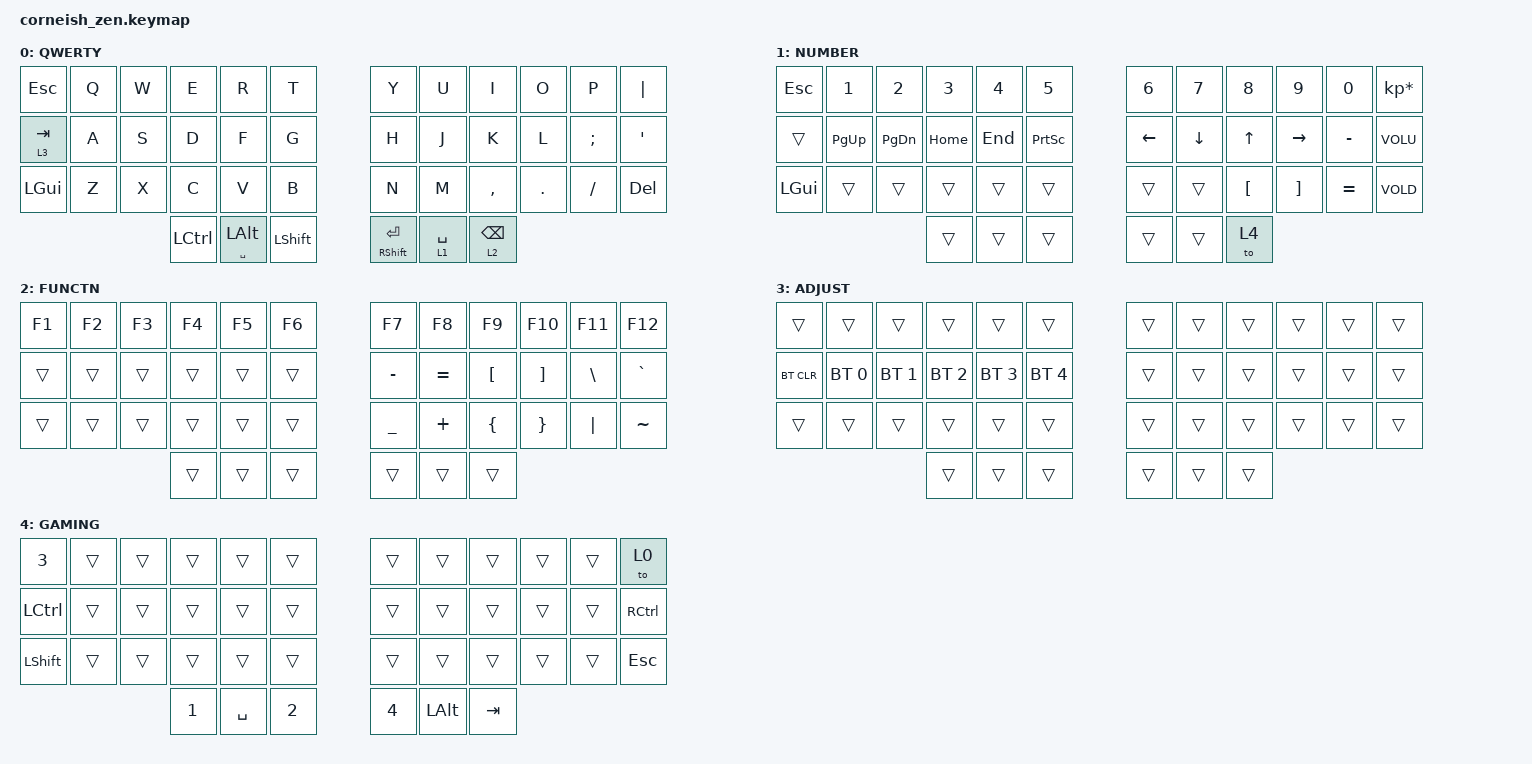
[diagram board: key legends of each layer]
#include <behaviors.dtsi>
#include <dt-bindings/zmk/keys.h>
#include <dt-bindings/zmk/bt.h>

/ {
  chosen {
    zmk,matrix_transform = &default_transform;
    //zmk,matrix_transform = &five_column_transform;
  };
};

&mt {
       tapping-term-ms = <125>;
};

/ {
        keymap {
                compatible = "zmk,keymap";

                default_layer {
                        label = "QWERTY";
// -----------------------------------------------------------------------------------------
// | ESC     |  Q  |  W  |  E  |  R  |  T  |   |  Y  |  U   |  I  |  O  |  P  | "|" |
// | TAB/AJT |  A  |  S  |  D  |  F  |  G  |   |  H  |  J   |  K  |  L  |  ;  |  '  |
// | GUI     |  Z  |  X  |  C  |  V  |  B  |   |  N  |  M   |  ,  |  .  |  /  | DEL |
//                   | CTL | SPC/ALT | SFT |   | ENT/SFT | SPC/LWR  | BSPC/RSE |
                        bindings = <
   &kp ESC   &kp Q &kp W &kp E &kp R &kp T   &kp Y &kp U  &kp I     &kp O   &kp P    &kp PIPE
   &lt 3 TAB &kp A &kp S &kp D &kp F &kp G   &kp H &kp J  &kp K     &kp L   &kp SEMI &kp SQT
   &kp LGUI  &kp Z &kp X &kp C &kp V &kp B   &kp N &kp M  &kp COMMA &kp DOT &kp FSLH &kp DEL
       &kp LCTRL &mt SPACE LALT &kp LSHIFT   &mt RSHIFT RET &lt 1 SPACE &lt 2 BSPC
                        >;
                };
                lower_layer {
                        label = "NUMBER";
// -----------------------------------------------------------------------------------------
// | ESC  |  1  |  2  |  3  |  4  |  5  |   |  6  |  7  |  8  |  9  |  0  | BKSP |
// | TAB  | PUP | PDN | HOM | END | PSN |   | LFT | DWN |  UP | RGT |     |      |
// | SHFT |     |     |     |     |     |   |     |     |     |     |     |      |
//                    | GUI |     | SPC |   | ENT |     | ALT |
                        bindings = <
   &kp ESC    &kp N1       &kp N2       &kp N3       &kp N4       &kp N5         &kp N6   &kp N7   &kp N8   &kp N9    &kp N0    &kp KP_MULTIPLY
   &trans     &kp PG_UP    &kp PG_DN    &kp HOME     &kp END      &kp PSCRN      &kp LEFT &kp DOWN &kp UP   &kp RIGHT &kp MINUS &kp VOLU
   &kp LGUI   &trans       &trans       &trans       &trans       &trans         &trans   &trans   &kp LBKT &kp RBKT  &kp EQUAL &kp VOLD
                          	            &trans       &trans       &trans         &trans   &trans   &to 4
                        >;
                };

                raise_layer {
                        label = "FUNCTN";
// -----------------------------------------------------------------------------------------
// |  TAB |  !  |  @  |  #  |  $  |  %  |   |  ^  |  &  |  *  |  (  |  )  | BKSP |
// | CTRL |     |     |     |     |     |   |  -  |  =  |  [  |  ]  |  \  |  `   |
// | SHFT |     |     |     |     |     |   |  _  |  +  |  {  |  }  | "|" |  ~   |
//                    | GUI |     | SPC |   | ENT |     | ALT |
                        bindings = <
   &kp F1  &kp F2   &kp F3  &kp F4   &kp F5   &kp F6      &kp F7    &kp F8    &kp F9    &kp F10  &kp F11  &kp F12
   &trans  &trans   &trans  &trans   &trans   &trans      &kp MINUS &kp EQUAL &kp LBKT  &kp RBKT &kp BSLH &kp GRAVE
   &trans  &trans   &trans  &trans   &trans   &trans      &kp UNDER &kp PLUS  &kp LBRC  &kp RBRC &kp PIPE &kp TILDE
                    	      &trans   &trans   &trans      &trans    &trans    &trans
                        >;
                };
               
                adjust_layer {
                        label = "ADJUST";
                        bindings = <
   &trans &trans &trans &trans &trans &trans   &trans &trans &trans &trans &trans &trans
   &bt BT_CLR &bt BT_SEL 0 &bt BT_SEL 1 &bt BT_SEL 2 &bt BT_SEL 3 &bt BT_SEL 4   &trans &trans &trans &trans &trans &trans
   &trans &trans &trans &trans &trans &trans   &trans &trans &trans &trans &trans &trans
            &trans       &trans       &trans         &trans   &trans   &trans
                        >;
                };

                game_layer {
                        label = "GAMING";
                        bindings = <
   &kp N3     &trans &trans &trans &trans    &trans        &trans &trans   &trans &trans &trans &to 0
   &kp LCTRL  &trans &trans &trans &trans    &trans        &trans &trans   &trans &trans &trans &kp RCTRL
   &kp LSHFT  &trans &trans &trans &trans    &trans        &trans &trans   &trans &trans &trans &kp ESC
                            &kp N1 &kp SPACE &kp N2        &kp N4 &kp LALT &kp TAB
                        >;
                };
        };
};
